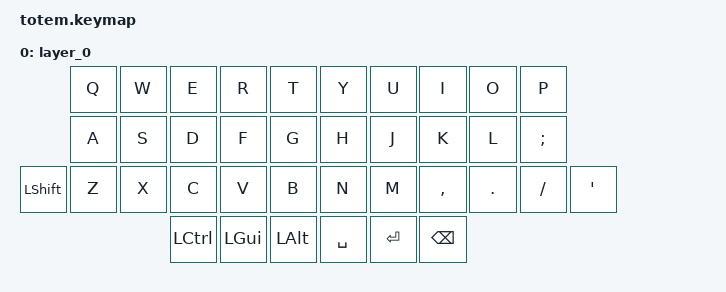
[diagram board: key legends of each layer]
//
//                                                        ▀▀▀▀▀     ▀▀▀▀▀          ▀▀█▀▀
//                                                        ▄▀▀▀▄  ▄  ▄▀▀▀▄  ▄  ▄▀▀▀▄  █  ▄▀▀▀▄
//                                                        █   █  █  █   █  █  █   █  █  █   █
//                                                         ▀▀▀   █   ▀▀▀   █   ▀▀▀   ▀   ▀▀▀
//                                                               █      ▄▄▄█▄▄▄    █   █  
//                                                               ▀      █  █  █     █▄█
//                                                             ▀▀▀▀▀    █  █  █      ▀
//                                                                      ▀  ▀  ▀
//
// ▄▄▄▄▄▄▄▄▄▄▄▄▄▄▄▄▄▄▄▄▄▄▄▄▄▄▄▄▄▄▄▄▄▄▄▄▄▄▄▄▄▄▄▄▄▄▄▄▄▄▄▄▄▄▄▄▄▄▄▄▄▄▄▄▄▄▄▄▄▄▄▄▄▄▄▄▄▄▄▄▄▄▄▄▄▄▄▄▄▄▄▄▄▄▄▄▄▄▄▄▄▄▄▄▄▄▄▄▄▄▄▄▄▄▄▄▄▄▄▄▄▄▄▄▄▄▄▄▄▄▄▄▄▄▄▄▄▄▄▄▄▄▄▄▄▄▄▄▄

#include <behaviors.dtsi>
#include <dt-bindings/zmk/keys.h>

#define BASE 0
#define NAV  1
#define SYM  2
#define ADJ  3
#define TVP1 4
#define TVP2 5

&mt {
    quick-tap-ms = <100>;
    global-quick-tap;
    flavor = "tap-preferred";
    tapping-term-ms = <170>;
};

/ {
    combos {
        compatible = "zmk,combos";

        combo_esc {
            timeout-ms = <50>;
            key-positions = <0 1>;
            bindings = <&kp ESC>;
        };

        combo_tvp {
            timeout-ms = <100>;
            key-positions = <11 12 13>;
            bindings = <&tog 0>;
        };
    };

    macros {
        gif: gif {
            label = "giphy";
            compatible = "zmk,behavior-macro";
            #binding-cells = <0>;
            bindings =
                <&macro_press>,
                <&kp LSHFT>,
                <&macro_tap>,
                <&kp N2>,
                <&macro_release>,
                <&kp LSHFT>,
                <&macro_tap>,
                <&kp G &kp I &kp F>;
        };
    };

    keymap {
        compatible = "zmk,keymap";

        // ▄▄▄▄▄▄▄▄▄▄▄▄▄▄▄▄▄▄▄▄▄▄▄▄▄▄▄▄▄▄▄▄▄▄▄▄▄▄▄▄▄▄▄▄▄▄▄▄▄▄▄▄▄▄▄▄▄▄▄▄▄▄▄▄▄▄▄▄▄▄▄▄▄▄▄▄▄▄▄▄▄▄▄▄▄▄▄▄▄▄▄▄▄▄▄▄▄▄▄▄▄▄▄▄▄▄▄▄▄▄▄▄▄▄▄▄▄▄▄▄▄▄▄▄▄▄▄▄▄▄▄▄▄▄▄▄▄▄▄▄▄▄▄▄▄▄▄▄▄
        // ▄▄▄▄▄▄▄▄▄▄▄▄▄▄▄▄▄▄▄▄▄▄▄▄▄▄▄▄▄▄▄▄▄▄▄▄▄▄▄▄▄▄▄▄▄▄▄▄▄▄▄▄▄▄▄▄▄▄▄▄▄▄▄▄▄▄▄▄▄▄▄▄▄▄▄▄▄▄▄▄▄▄▄▄▄▄▄▄▄▄▄▄▄▄▄▄▄▄▄▄▄▄▄▄▄▄▄▄▄▄▄▄▄▄▄▄▄▄▄▄▄▄▄▄▄▄▄▄▄▄▄▄▄▄▄▄▄▄▄▄▄▄▄▄▄▄▄▄▄
        // ▄▄▄▄▄▄▄▄▄▄▄▄▄▄▄▄▄▄▄▄▄▄▄▄▄▄▄▄▄▄▄▄▄▄▄▄▄▄▄▄▄▄▄▄▄▄▄▄▄▄▄▄▄▄▄▄▄▄▄▄▄▄▄▄▄▄▄▄▄▄▄▄▄▄▄▄▄▄▄▄▄▄▄▄▄▄▄▄▄▄▄▄▄▄▄▄▄▄▄▄▄▄▄▄▄▄▄▄▄▄▄▄▄▄▄▄▄▄▄▄▄▄▄▄▄▄▄▄▄▄▄▄▄▄▄▄▄▄▄▄▄▄▄▄▄▄▄▄▄
        // ▄▄▄▄▄▄▄▄▄▄▄▄▄▄▄▄▄▄▄▄▄▄▄▄▄▄▄▄▄▄▄▄▄▄▄▄▄▄▄▄▄▄▄▄▄▄▄▄▄▄▄▄▄▄▄▄▄▄▄▄▄▄▄▄▄▄▄▄▄▄▄▄▄▄▄▄▄▄▄▄▄▄▄▄▄▄▄▄▄▄▄▄▄▄▄▄▄▄▄▄▄▄▄▄▄▄▄▄▄▄▄▄▄▄▄▄▄▄▄▄▄▄▄▄▄▄▄▄▄▄▄▄▄▄▄▄▄▄▄▄▄▄▄▄▄▄▄▄▄
        // ▄▄▄▄▄▄▄▄▄▄▄▄▄▄▄▄▄▄▄▄▄▄▄▄▄▄▄▄▄▄▄▄▄▄▄▄▄▄▄▄▄▄▄▄▄▄▄▄▄▄▄▄▄▄▄▄▄▄▄▄▄▄▄▄▄▄▄▄▄▄▄▄▄▄▄▄▄▄▄▄▄▄▄▄▄▄▄▄▄▄▄▄▄▄▄▄▄▄▄▄▄▄▄▄▄▄▄▄▄▄▄▄▄▄▄▄▄▄▄▄▄▄▄▄▄▄▄▄▄▄▄▄▄▄▄▄▄▄▄▄▄▄▄▄▄▄▄▄▄
        // ▄▄▄▄▄▄▄▄▄▄▄▄▄▄▄▄▄▄▄▄▄▄▄▄▄▄▄▄▄▄▄▄▄▄▄▄▄▄▄▄▄▄▄▄▄▄▄▄▄▄▄▄▄▄▄▄▄▄▄▄▄▄▄▄▄▄▄▄▄▄▄▄▄▄▄▄▄▄▄▄▄▄▄▄▄▄▄▄▄▄▄▄▄▄▄▄▄▄▄▄▄▄▄▄▄▄▄▄▄▄▄▄▄▄▄▄▄▄▄▄▄▄▄▄▄▄▄▄▄▄▄▄▄▄▄▄▄▄▄▄▄▄▄▄▄▄▄▄▄

        layer_0 {
            bindings = <
           &kp Q  &kp W  &kp E      &kp R     &kp T       &kp Y      &kp U      &kp I      &kp O    &kp P
           &kp A  &kp S  &kp D      &kp F     &kp G       &kp H      &kp J      &kp K      &kp L    &kp SEMI
&kp LSHFT  &kp Z  &kp X  &kp C      &kp V     &kp B       &kp N      &kp M      &kp COMMA  &kp DOT  &kp FSLH  &kp SQT
                         &kp LCTRL  &kp LGUI  &kp LALT    &kp SPACE  &kp ENTER  &kp BSPC
            >;
        };
    };
};
